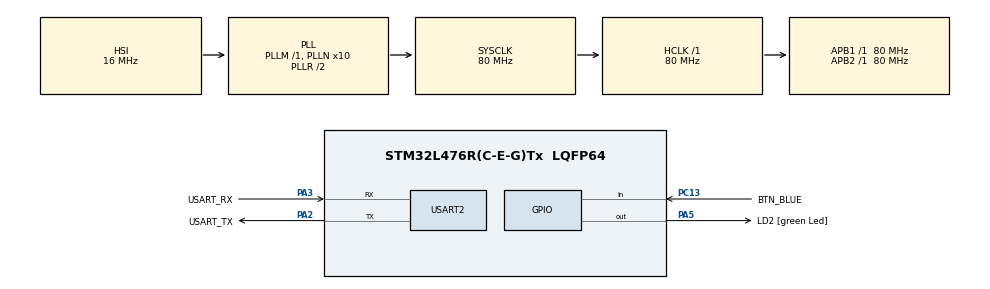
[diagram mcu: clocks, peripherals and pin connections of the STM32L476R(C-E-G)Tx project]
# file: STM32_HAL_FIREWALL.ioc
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Mcu.Family=STM32L4
Mcu.Name=STM32L476R(C-E-G)Tx
Mcu.Package=LQFP64
NVIC.PriorityGroup=NVIC_PRIORITYGROUP_4
PA13\ (JTMS-SWDIO).GPIO_Label=TMS
PA13\ (JTMS-SWDIO).Mode=Serial_Wire
PA13\ (JTMS-SWDIO).Signal=SYS_JTMS-SWDIO
PA14\ (JTCK-SWCLK).GPIO_Label=TCK
PA14\ (JTCK-SWCLK).Mode=Serial_Wire
PA14\ (JTCK-SWCLK).Signal=SYS_JTCK-SWCLK
PA2.GPIO_Label=USART_TX
PA2.GPIO_Mode=GPIO_MODE_AF_PP
PA2.GPIO_PuPd=GPIO_NOPULL
PA2.GPIO_Speed=GPIO_SPEED_FREQ_VERY_HIGH
PA2.Mode=Asynchronous
PA2.Signal=USART2_TX
PA3.GPIO_Label=USART_RX
PA3.GPIO_Mode=GPIO_MODE_AF_PP
PA3.GPIO_PuPd=GPIO_NOPULL
PA3.GPIO_Speed=GPIO_SPEED_FREQ_VERY_HIGH
PA3.Mode=Asynchronous
PA3.Signal=USART2_RX
PA5.GPIO_Label=LD2 [green Led]
PA5.GPIO_ModeDefaultOutputPP=GPIO_MODE_OUTPUT_PP
PA5.GPIO_PuPd=GPIO_NOPULL
PA5.GPIO_Speed=GPIO_SPEED_FREQ_LOW
PA5.Signal=GPIO_Output
PB3\ (JTDO-TRACESWO).GPIO_Label=SWO
PB3\ (JTDO-TRACESWO).Signal=SYS_JTDO-SWO
PC13.GPIO_Label=BTN_BLUE
PC13.Signal=GPIO_Input
PC14-OSC32_IN\ (PC14).Mode=LSE-External-Oscillator
PC14-OSC32_IN\ (PC14).Signal=RCC_OSC32_IN
PC15-OSC32_OUT\ (PC15).Mode=LSE-External-Oscillator
PC15-OSC32_OUT\ (PC15).Signal=RCC_OSC32_OUT
PH0-OSC_IN\ (PH0).Signal=RCC_OSC_IN
PH1-OSC_OUT\ (PH1).Signal=RCC_OSC_OUT
ProjectManager.HeapSize=0x200
ProjectManager.StackSize=0x400
ProjectManager.TargetToolchain=STM32CubeIDE
RCC.ADCFreq_Value=64000000
RCC.AHBFreq_Value=80000000
RCC.APB1Freq_Value=80000000
RCC.APB1TimFreq_Value=80000000
RCC.APB2Freq_Value=80000000
RCC.APB2TimFreq_Value=80000000
RCC.CortexFreq_Value=80000000
RCC.HCLKFreq_Value=80000000
RCC.HSE_VALUE=8000000
RCC.HSI_VALUE=16000000
RCC.MSI_VALUE=4000000
RCC.PLLN=10
RCC.PLLSourceVirtual=RCC_PLLSOURCE_HSI
RCC.PREFETCH_ENABLE=1
RCC.SYSCLKFreq_VALUE=80000000
RCC.SYSCLKSource=RCC_SYSCLKSOURCE_PLLCLK
RCC.USBFreq_Value=64000000
RCC.VCOOutputFreq_Value=160000000
USART2.VirtualMode-Asynchronous=VM_ASYNC
board=NUCLEO-L476RG

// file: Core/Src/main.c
/* USER CODE BEGIN Header */
/**
  ******************************************************************************
  * @file           : main.c
  * @brief          : Main program body
  ******************************************************************************
  * @attention
  *
  * Copyright (c) 2022 STMicroelectronics.
  * All rights reserved.
  *
  * This software is licensed under terms that can be found in the LICENSE file
  * in the root directory of this software component.
  * If no LICENSE file comes with this software, it is provided AS-IS.
  *
  ******************************************************************************
  */
/* USER CODE END Header */
#include "main.h"
#include "usart.h"
#include "gpio.h"

/* USER CODE BEGIN Includes */
#include <string.h>
/* USER CODE END Includes */

void SystemClock_Config(void);
/* USER CODE BEGIN PFP */
void SecureFunction(void);
void ToggleLED(void);
void CopySecret(void);
/* USER CODE END PFP */

/* USER CODE BEGIN 0 */
__attribute__((__section__(".securedata")))
uint8_t secret[9] = {'S','E','C','R','E','T','\r','\n',0};
uint8_t secretCopy[9] = {0,};

//Protected_function must be declared first!!!
//as call gate function must be located at the start address + 4
__attribute__((__section__(".securecode")))
void SecureFunction(void)
{
  __HAL_FIREWALL_PREARM_DISABLE();
  ToggleLED();
  CopySecret();
  __HAL_FIREWALL_PREARM_ENABLE();
}

//you can't use HAL functions as they're not located at the secure area
//if you want to use HAL functions they must be located at the secure area
__attribute__((__section__(".securecode")))
void ToggleLED(void)
{
  if ((GPIOA->ODR & GPIO_PIN_5) != 0x00u)
  {
    GPIOA->BRR = (uint32_t)GPIO_PIN_5;
  }
  else
  {
    GPIOA->BSRR = (uint32_t)GPIO_PIN_5;
  }
}

__attribute__((__section__(".securecode")))
void CopySecret(void)
{
  memcpy(secretCopy, secret, sizeof(secret));
}

void ConfigFirewall(void)
{
  FIREWALL_InitTypeDef fw_init;

  fw_init.CodeSegmentStartAddress = 0x80fc000;
  fw_init.CodeSegmentLength = 0x3000;

  fw_init.NonVDataSegmentStartAddress = 0x80ff000;
  fw_init.NonVDataSegmentLength = 0xFFF;

  fw_init.VDataSegmentStartAddress = 0x2000fe00;
  fw_init.VDataSegmentLength = 0x200;

  HAL_FIREWALL_Config(&fw_init);
  HAL_FIREWALL_EnableFirewall();
}

/* USER CODE END 0 */

int main(void)
{

  /* MCU Configuration--------------------------------------------------------*/

  /* Reset of all peripherals, Initializes the Flash interface and the Systick. */
  HAL_Init();

  /* Configure the system clock */
  SystemClock_Config();

  /* Initialize all configured peripherals */
  MX_GPIO_Init();
  MX_USART2_UART_Init();
  /* USER CODE BEGIN 2 */

  ConfigFirewall();

  /* USER CODE END 2 */

  /* Infinite loop */
  while (1)
  {

    /* USER CODE BEGIN 3 */

    if(HAL_GPIO_ReadPin(BTN_BLUE_GPIO_Port, BTN_BLUE_Pin) == GPIO_PIN_RESET)
    {
      __disable_irq();
      SecureFunction();
      //ToggleLED();
      //CopySecret();
      __enable_irq();
      HAL_UART_Transmit(&huart2, secretCopy, sizeof(secretCopy), HAL_MAX_DELAY);
    }

    HAL_Delay(500);

  }
  /* USER CODE END 3 */
}

void SystemClock_Config(void)
{
  RCC_OscInitTypeDef RCC_OscInitStruct = {0};
  RCC_ClkInitTypeDef RCC_ClkInitStruct = {0};

  /** Configure the main internal regulator output voltage
  */
  if (HAL_PWREx_ControlVoltageScaling(PWR_REGULATOR_VOLTAGE_SCALE1) != HAL_OK)
  {
    Error_Handler();
  }

  /** Initializes the RCC Oscillators according to the specified parameters
  * in the RCC_OscInitTypeDef structure.
  */
  RCC_OscInitStruct.OscillatorType = RCC_OSCILLATORTYPE_HSI;
  RCC_OscInitStruct.HSIState = RCC_HSI_ON;
  RCC_OscInitStruct.HSICalibrationValue = RCC_HSICALIBRATION_DEFAULT;
  RCC_OscInitStruct.PLL.PLLState = RCC_PLL_ON;
  RCC_OscInitStruct.PLL.PLLSource = RCC_PLLSOURCE_HSI;
  RCC_OscInitStruct.PLL.PLLM = 1;
  RCC_OscInitStruct.PLL.PLLN = 10;
  RCC_OscInitStruct.PLL.PLLP = RCC_PLLP_DIV7;
  RCC_OscInitStruct.PLL.PLLQ = RCC_PLLQ_DIV2;
  RCC_OscInitStruct.PLL.PLLR = RCC_PLLR_DIV2;
  if (HAL_RCC_OscConfig(&RCC_OscInitStruct) != HAL_OK)
  {
    Error_Handler();
  }

  /** Initializes the CPU, AHB and APB buses clocks
  */
  RCC_ClkInitStruct.ClockType = RCC_CLOCKTYPE_HCLK|RCC_CLOCKTYPE_SYSCLK
                              |RCC_CLOCKTYPE_PCLK1|RCC_CLOCKTYPE_PCLK2;
  RCC_ClkInitStruct.SYSCLKSource = RCC_SYSCLKSOURCE_PLLCLK;
  RCC_ClkInitStruct.AHBCLKDivider = RCC_SYSCLK_DIV1;
  RCC_ClkInitStruct.APB1CLKDivider = RCC_HCLK_DIV1;
  RCC_ClkInitStruct.APB2CLKDivider = RCC_HCLK_DIV1;

  if (HAL_RCC_ClockConfig(&RCC_ClkInitStruct, FLASH_LATENCY_4) != HAL_OK)
  {
    Error_Handler();
  }
}

void Error_Handler(void)
{
  __disable_irq();
  while (1)
  {
  }
}
